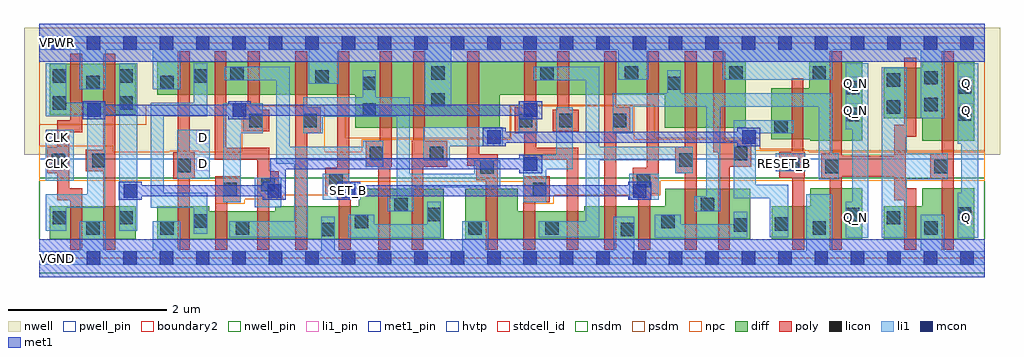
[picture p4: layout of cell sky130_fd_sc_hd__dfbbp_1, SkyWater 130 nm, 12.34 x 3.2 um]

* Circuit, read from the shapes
.subckt sky130_fd_sc_hd__dfbbp_1 CLK D Q Q_N RESET_B SET_B VGND VNB VPB VPWR
XM1 VGND CLK n1 VNB sky130_fd_pr__nfet_01v8 w=0.42 l=0.15
XM2 n2 n1 VGND VNB sky130_fd_pr__nfet_01v8 w=0.42 l=0.15
XM3 n3 D VGND VNB sky130_fd_pr__nfet_01v8 w=0.42 l=0.15
XM4 n4 n1 n3 VNB sky130_fd_pr__nfet_01v8 w=0.36 l=0.15
XM5 n5 n2 n4 VNB sky130_fd_pr__nfet_01v8 w=0.36 l=0.15
XM6 VGND n6 n5 VNB sky130_fd_pr__nfet_01v8 w=0.42 l=0.15
XM7 n7 SET_B VGND VNB sky130_fd_pr__nfet_01v8 w=0.42 l=0.15
XM8 n6 n4 n7 VNB sky130_fd_pr__nfet_01v8 w=0.64 l=0.15
XM9 n7 n8 n6 VNB sky130_fd_pr__nfet_01v8 w=0.64 l=0.15
XM10 n9 n6 VGND VNB sky130_fd_pr__nfet_01v8 w=0.64 l=0.15
XM11 n10 n2 n9 VNB sky130_fd_pr__nfet_01v8 w=0.36 l=0.15
XM12 n11 n1 n10 VNB sky130_fd_pr__nfet_01v8 w=0.36 l=0.15
XM13 VGND n12 n11 VNB sky130_fd_pr__nfet_01v8 w=0.42 l=0.15
XM14 n13 SET_B VGND VNB sky130_fd_pr__nfet_01v8 w=0.42 l=0.15
XM15 n12 n10 n13 VNB sky130_fd_pr__nfet_01v8 w=0.64 l=0.15
XM16 n13 n8 n12 VNB sky130_fd_pr__nfet_01v8 w=0.64 l=0.15
XM17 VGND RESET_B n8 VNB sky130_fd_pr__nfet_01v8 w=0.42 l=0.15
XM18 Q_N n12 VGND VNB sky130_fd_pr__nfet_01v8 w=0.65 l=0.15
XM19 VGND n12 n14 VNB sky130_fd_pr__nfet_01v8 w=0.42 l=0.15
XM20 Q n14 VGND VNB sky130_fd_pr__nfet_01v8 w=0.65 l=0.15
XM21 VPWR CLK n1 VPB sky130_fd_pr__pfet_01v8_hvt w=0.64 l=0.15
XM22 n2 n1 VPWR VPB sky130_fd_pr__pfet_01v8_hvt w=0.64 l=0.15
XM23 n3 D VPWR VPB sky130_fd_pr__pfet_01v8_hvt w=0.42 l=0.15
XM24 n4 n2 n3 VPB sky130_fd_pr__pfet_01v8_hvt w=0.42 l=0.15
XM25 n15 n1 n4 VPB sky130_fd_pr__pfet_01v8_hvt w=0.42 l=0.15
XM26 VPWR n6 n15 VPB sky130_fd_pr__pfet_01v8_hvt w=0.42 l=0.15
XM27 n6 SET_B VPWR VPB sky130_fd_pr__pfet_01v8_hvt w=0.42 l=0.15
XM28 n16 n4 n6 VPB sky130_fd_pr__pfet_01v8_hvt w=0.84 l=0.15
XM29 VPWR n8 n16 VPB sky130_fd_pr__pfet_01v8_hvt w=0.84 l=0.15
XM30 n17 n6 VPWR VPB sky130_fd_pr__pfet_01v8_hvt w=0.84 l=0.15
XM31 n10 n1 n17 VPB sky130_fd_pr__pfet_01v8_hvt w=0.42 l=0.15
XM32 n18 n2 n10 VPB sky130_fd_pr__pfet_01v8_hvt w=0.42 l=0.15
XM33 VPWR n12 n18 VPB sky130_fd_pr__pfet_01v8_hvt w=0.42 l=0.15
XM34 n12 SET_B VPWR VPB sky130_fd_pr__pfet_01v8_hvt w=0.42 l=0.15
XM35 n19 n10 n12 VPB sky130_fd_pr__pfet_01v8_hvt w=0.84 l=0.15
XM36 VPWR n8 n19 VPB sky130_fd_pr__pfet_01v8_hvt w=0.84 l=0.15
XM37 VPWR RESET_B n8 VPB sky130_fd_pr__pfet_01v8_hvt w=0.64 l=0.15
XM38 Q_N n12 VPWR VPB sky130_fd_pr__pfet_01v8_hvt w=1 l=0.15
XM39 VPWR n12 n14 VPB sky130_fd_pr__pfet_01v8_hvt w=0.64 l=0.15
XM40 Q n14 VPWR VPB sky130_fd_pr__pfet_01v8_hvt w=1 l=0.15
.ends

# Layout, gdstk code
import gdstk
lib = gdstk.Library(unit=1e-6, precision=1e-09)
def R(c, l, rs):  # rectangles x0, y0, x1, y1
    for r in rs: c.add(gdstk.rectangle(r[:2], r[2:], *l))
def A(c, l, x, y, w, h, nx, ny, dx, dy):  # array of equal rectangles
    R(c, l, [(x+i*dx, y+j*dy, x+i*dx+w, y+j*dy+h) for i in range(nx) for j in range(ny)])
def P(c, l, *ps):  # polygons
    for p in ps: c.add(gdstk.Polygon(p, *l))
nwell_pin = (64, 16)
nwell = (64, 20)
diff = (65, 20)
poly = (66, 20)
licon = (66, 44)
li1_pin = (67, 16)
li1 = (67, 20)
mcon = (67, 44)
met1_pin = (68, 16)
met1 = (68, 20)
hvtp = (78, 44)
stdcell_id = (81, 4)
nsdm = (93, 44)
psdm = (94, 20)
npc = (95, 20)
pwell_pin = (122, 16)
boundary2 = (236, 0)

sky130_fd_sc_hd__dfbbp_1 = lib.new_cell('sky130_fd_sc_hd__dfbbp_1')
R(sky130_fd_sc_hd__dfbbp_1, nwell_pin, [(0.15,2.635,0.32,2.805), (0.15,2.635,0.32,2.805)])
R(sky130_fd_sc_hd__dfbbp_1, nwell, [(-0.19,1.305,12.15,2.91)])
R(sky130_fd_sc_hd__dfbbp_1, diff, [(0.135,0.235,1.225,0.655), (0.135,1.815,1.225,2.455)])
P(sky130_fd_sc_hd__dfbbp_1, diff, [(5.12,0.875),(4.04,0.875),(4.04,0.655),(2.985,0.655),(2.985,0.595),(2.155,0.595),(2.155,0.655),(1.495,0.655),(1.495,0.235),(5.12,0.235)],
  [(11.825,0.885),(11.165,0.885),(11.165,0.655),(10.68,0.655),(10.68,0.235),(11.825,0.235)],
  [(8.935,2.485),(1.495,2.485),(1.495,2.065),(4,2.065),(4,1.645),(5.825,1.645),(5.825,2.065),(7.91,2.065),(7.91,1.645),(8.935,1.645)],
  [(8.995,0.875),(7.915,0.875),(7.915,0.655),(6.895,0.655),(6.895,0.595),(6.05,0.595),(6.05,0.875),(5.39,0.875),(5.39,0.235),(8.995,0.235)],
  [(10.41,2.485),(9.74,2.485),(9.74,2.145),(9.255,2.145),(9.255,1.505),(9.75,1.505),(9.75,1.485),(10.41,1.485)],
  [(10.41,0.885),(9.75,0.885),(9.75,0.655),(9.265,0.655),(9.265,0.235),(10.41,0.235)],
  [(11.825,2.485),(11.165,2.485),(11.165,2.405),(10.68,2.405),(10.68,1.765),(11.165,1.765),(11.165,1.485),(11.825,1.485)])
R(sky130_fd_sc_hd__dfbbp_1, poly, [(1.755,0.105,1.905,1.005), (2.23,0.105,2.38,0.715), (3.79,0.105,3.94,0.84), (4.29,0.105,4.44,1.175), (4.71,0.105,4.86,1.485), (2.23,0.705,2.55,1.035), (1.7,1.005,1.97,1.335), (1.755,1.31,1.905,2.615)])
P(sky130_fd_sc_hd__dfbbp_1, poly, [(0.545,0.88),(0.38,0.88),(0.38,1.59),(0.545,1.59),(0.545,2.585),(0.395,2.585),(0.395,1.74),(0.23,1.74),(0.23,1.4),(0.105,1.4),(0.105,1.07),(0.23,1.07),(0.23,0.73),(0.395,0.73),(0.395,0.105),(0.545,0.105)],
  [(0.965,2.585),(0.815,2.585),(0.815,1.37),(0.59,1.37),(0.59,1.1),(0.815,1.1),(0.815,0.105),(0.965,0.105)],
  [(11.565,2.615),(11.415,2.615),(11.415,1.325),(11.27,1.325),(11.27,0.995),(11.415,0.995),(11.415,0.105),(11.565,0.105)],
  [(2.91,1.875),(2.79,1.875),(2.79,2.615),(2.64,2.615),(2.64,1.875),(2.58,1.875),(2.58,1.605),(2.91,1.605)],
  [(3.03,1.095),(2.91,1.095),(2.91,1.395),(2.37,1.395),(2.37,2.615),(2.22,2.615),(2.22,1.245),(2.76,1.245),(2.76,0.105),(2.91,0.105),(2.91,0.765),(3.03,0.765)],
  [(3.56,1.905),(3.39,1.905),(3.39,2.615),(3.24,2.615),(3.24,0.105),(3.39,0.105),(3.39,1.575),(3.56,1.575)],
  [(5.16,1.485),(4.88,1.485),(4.88,2.615),(4.73,2.615),(4.73,1.155),(5.16,1.155)],
  [(5.8,1.315),(5.565,1.315),(5.565,2.615),(5.415,2.615),(5.415,1.165),(5.53,1.165),(5.53,0.985),(5.65,0.985),(5.65,0.105),(5.8,0.105)],
  [(6.46,1.035),(6.125,1.035),(6.125,0.105),(6.275,0.105),(6.275,0.705),(6.46,0.705)],
  [(6.82,1.395),(6.285,1.395),(6.285,2.615),(6.135,2.615),(6.135,1.905),(6.015,1.905),(6.015,1.575),(6.135,1.575),(6.135,1.245),(6.67,1.245),(6.67,0.105),(6.82,0.105)],
  [(6.825,1.875),(6.705,1.875),(6.705,2.615),(6.555,2.615),(6.555,1.875),(6.495,1.875),(6.495,1.605),(6.825,1.605)],
  [(7.475,1.905),(7.295,1.905),(7.295,2.615),(7.145,2.615),(7.145,0.105),(7.295,0.105),(7.295,1.575),(7.475,1.575)],
  [(7.835,2.615),(7.685,2.615),(7.685,1.145),(7.505,1.145),(7.505,0.815),(7.575,0.815),(7.575,0.105),(7.725,0.105),(7.725,0.815),(7.835,0.815)],
  [(8.315,2.615),(8.165,2.615),(8.165,1.405),(8.045,1.405),(8.045,1.075),(8.165,1.075),(8.165,0.105),(8.315,0.105)],
  [(9.005,1.485),(8.675,1.485),(8.675,2.615),(8.525,2.615),(8.525,1.335),(8.585,1.335),(8.585,0.105),(8.735,0.105),(8.735,1.155),(9.005,1.155)],
  [(9.68,1.345),(9.665,1.345),(9.665,2.275),(9.515,2.275),(9.515,1.345),(9.36,1.345),(9.36,1.015),(9.525,1.015),(9.525,0.105),(9.675,0.105),(9.675,1.015),(9.68,1.015)],
  [(11.09,0.88),(10.96,0.88),(10.96,1.535),(11.09,1.535),(11.09,2.535),(10.94,2.535),(10.94,1.685),(10.81,1.685),(10.81,1.295),(10.15,1.295),(10.15,2.615),(10,2.615),(10,1.325),(9.89,1.325),(9.89,0.995),(10,0.995),(10,0.105),(10.15,0.105),(10.15,1.025),(10.81,1.025),(10.81,0.73),(10.94,0.73),(10.94,0.105),(11.09,0.105)],
  [(3.94,0.965),(3.92,0.965),(3.92,2.615),(3.77,2.615),(3.77,1.145),(3.62,1.145),(3.62,0.815),(3.94,0.815)],
  [(4.46,2.615),(4.31,2.615),(4.31,1.485),(4.13,1.485),(4.13,1.155),(4.46,1.155)])
R(sky130_fd_sc_hd__dfbbp_1, licon, [(3.57,0.275,3.74,0.445), (7.355,0.275,7.525,0.445), (0.595,0.295,0.765,0.465), (1.535,0.295,1.705,0.465), (2.485,0.295,2.655,0.465), (5.43,0.295,5.6,0.465), (6.4,0.295,6.57,0.465), (9.78,0.295,9.95,0.465), (11.195,0.295,11.365,0.465), (8.785,0.335,8.955,0.505), (9.305,0.345,9.475,0.515), (3.99,0.375,4.16,0.545), (7.865,0.375,8.035,0.545), (1.955,0.385,2.125,0.555), (0.175,0.425,0.345,0.595), (1.015,0.425,1.185,0.595), (10.72,0.425,10.89,0.595), (4.91,0.465,5.08,0.635), (10.2,0.465,10.37,0.635), (11.615,0.475,11.785,0.645), (4.49,0.595,4.66,0.765), (8.365,0.595,8.535,0.765), (2.33,0.785,2.5,0.955), (6.24,0.785,6.41,0.955), (2.81,0.845,2.98,1.015), (3.67,0.895,3.84,1.065), (7.555,0.895,7.725,1.065), (5.58,1.065,5.75,1.235), (9.94,1.075,10.11,1.245), (11.32,1.075,11.49,1.245), (1.75,1.085,1.92,1.255), (9.44,1.095,9.61,1.265), (0.16,1.15,0.33,1.32), (0.67,1.15,0.84,1.32), (8.095,1.155,8.265,1.325), (4.18,1.235,4.35,1.405), (4.94,1.235,5.11,1.405), (8.785,1.235,8.955,1.405), (9.295,1.575,9.465,1.745), (2.66,1.655,2.83,1.825), (3.34,1.655,3.51,1.825), (6.065,1.655,6.235,1.825), (6.575,1.655,6.745,1.825), (7.255,1.655,7.425,1.825), (10.2,1.73,10.37,1.9), (11.615,1.735,11.785,1.905), (4.09,1.785,4.26,1.955), (10.72,1.825,10.89,1.995), (11.195,1.855,11.365,2.025), (0.175,1.875,0.345,2.045), (1.015,1.875,1.185,2.045), (4.96,1.915,5.13,2.085), (10.2,2.07,10.37,2.24), (11.615,2.075,11.785,2.245), (4.09,2.125,4.26,2.295), (7.945,2.125,8.115,2.295), (0.595,2.135,0.765,2.305), (1.535,2.135,1.705,2.305), (10.72,2.165,10.89,2.335), (11.195,2.195,11.365,2.365), (3.49,2.205,3.66,2.375), (0.175,2.215,0.345,2.385), (1.015,2.215,1.185,2.385), (1.955,2.215,2.125,2.385), (2.42,2.25,2.59,2.42), (6.335,2.25,6.505,2.42), (4.96,2.255,5.13,2.425), (7.405,2.255,7.575,2.425), (8.725,2.255,8.895,2.425), (9.78,2.255,9.95,2.425)])
R(sky130_fd_sc_hd__dfbbp_1, li1_pin, [(0.15,-0.085,0.32,0.085), (10.24,0.425,10.41,0.595), (11.64,0.425,11.81,0.595), (3.83,0.765,4,0.935), (0.15,1.105,0.32,1.275), (1.99,1.105,2.16,1.275), (9.47,1.105,9.64,1.275), (0.15,1.445,0.32,1.615), (1.99,1.445,2.16,1.615), (10.24,1.785,10.41,1.955), (11.64,1.785,11.81,1.955), (10.24,2.125,10.41,2.295), (11.64,2.125,11.81,2.295), (0.15,2.635,0.32,2.805)])
R(sky130_fd_sc_hd__dfbbp_1, li1, [(1.015,0.345,1.24,2.465), (2.73,0.645,3.06,1.015), (7.46,0.735,7.835,1.065), (0.085,0.975,0.44,1.625), (1.75,1.005,2.16,1.625), (9.315,1.095,9.69,1.325), (6.065,1.575,6.3,1.985)])
P(sky130_fd_sc_hd__dfbbp_1, li1, [(0.84,1.965),(0.345,1.965),(0.345,2.465),(0.085,2.465),(0.085,1.795),(0.61,1.795),(0.61,0.805),(0.085,0.805),(0.085,0.345),(0.345,0.345),(0.345,0.635),(0.84,0.635)],
  [(2.125,0.825),(1.58,0.825),(1.58,1.795),(2.125,1.795),(2.125,2.465),(1.955,2.465),(1.955,1.965),(1.41,1.965),(1.41,0.635),(1.955,0.635),(1.955,0.305),(2.125,0.305)],
  [(2.83,1.955),(2.33,1.955),(2.33,0.705),(2.55,0.705),(2.55,1.575),(2.83,1.575)],
  [(11.96,0.085),(11.445,0.085),(11.445,0.545),(11.15,0.545),(11.15,0.085),(10.03,0.085),(10.03,0.805),(9.7,0.805),(9.7,0.085),(7.525,0.085),(7.525,0.525),(7.265,0.525),(7.265,0.085),(5.68,0.085),(5.68,0.465),(5.35,0.465),(5.35,0.085),(3.74,0.085),(3.74,0.525),(3.57,0.525),(3.57,0.085),(1.785,0.085),(1.785,0.465),(1.435,0.465),(1.435,0.085),(0.845,0.085),(0.845,0.465),(0.515,0.465),(0.515,0.085),(0,0.085),(0,-0.085),(11.96,-0.085)],
  [(4,0.965),(3.92,0.965),(3.92,1.065),(3.59,1.065),(3.59,0.735),(4,0.735)],
  [(4.35,1.485),(4.1,1.485),(4.1,1.405),(3.17,1.405),(3.17,2.42),(2.34,2.42),(2.34,2.25),(3,2.25),(3,1.195),(3.23,1.195),(3.23,0.465),(2.405,0.465),(2.405,0.265),(3.4,0.265),(3.4,1.235),(4.13,1.235),(4.13,1.155),(4.35,1.155)],
  [(5.08,0.715),(4.91,0.715),(4.91,0.425),(4.24,0.425),(4.24,0.545),(3.91,0.545),(3.91,0.255),(5.08,0.255)],
  [(5.83,1.235),(5.5,1.235),(5.5,1.065),(4.69,1.065),(4.69,2.035),(4.26,2.035),(4.26,2.375),(4.09,2.375),(4.09,2.035),(3.34,2.035),(3.34,1.575),(3.59,1.575),(3.59,1.785),(4.52,1.785),(4.52,0.765),(4.41,0.765),(4.41,0.595),(4.74,0.595),(4.74,0.895),(5.83,0.895)],
  [(5.865,1.655),(4.86,1.655),(4.86,1.235),(5.19,1.235),(5.19,1.415),(5.865,1.415)],
  [(6.745,1.905),(6.54,1.905),(6.54,1.305),(6.125,1.305),(6.125,0.705),(6.41,0.705),(6.41,1.125),(6.745,1.125)],
  [(8.265,1.405),(7.085,1.405),(7.085,2.42),(6.255,2.42),(6.255,2.25),(6.915,2.25),(6.915,0.465),(6.32,0.465),(6.32,0.265),(7.085,0.265),(7.085,1.235),(8.045,1.235),(8.045,1.075),(8.265,1.075)],
  [(8.955,0.585),(8.785,0.585),(8.785,0.425),(8.115,0.425),(8.115,0.545),(7.785,0.545),(7.785,0.255),(8.955,0.255)],
  [(9.545,1.745),(8.785,1.745),(8.785,0.755),(9.24,0.755),(9.24,0.265),(9.475,0.265),(9.475,0.925),(9.06,0.925),(9.06,1.575),(9.545,1.575)],
  [(10.11,1.325),(10.03,1.325),(10.03,2.085),(8.115,2.085),(8.115,2.375),(7.945,2.375),(7.945,2.085),(7.255,2.085),(7.255,1.575),(7.505,1.575),(7.505,1.915),(8.435,1.915),(8.435,0.78),(8.285,0.78),(8.285,0.595),(8.615,0.595),(8.615,1.915),(9.86,1.915),(9.86,0.995),(10.11,0.995)],
  [(10.485,2.465),(10.2,2.465),(10.2,1.63),(10.28,1.63),(10.28,0.715),(10.2,0.715),(10.2,0.255),(10.485,0.255)],
  [(11.49,1.325),(10.97,1.325),(10.97,2.415),(10.655,2.415),(10.655,0.255),(10.97,0.255),(10.97,0.995),(11.49,0.995)],
  [(11.875,2.465),(11.615,2.465),(11.615,1.445),(11.66,1.445),(11.66,0.825),(11.615,0.825),(11.615,0.255),(11.875,0.255)],
  [(11.96,2.805),(0,2.805),(0,2.635),(0.515,2.635),(0.515,2.135),(0.845,2.135),(0.845,2.635),(1.435,2.635),(1.435,2.135),(1.785,2.135),(1.785,2.635),(3.41,2.635),(3.41,2.205),(3.79,2.205),(3.79,2.635),(4.88,2.635),(4.88,1.915),(5.21,1.915),(5.21,2.635),(7.325,2.635),(7.325,2.255),(7.705,2.255),(7.705,2.635),(8.645,2.635),(8.645,2.255),(10.03,2.255),(10.03,2.635),(11.15,2.635),(11.15,1.765),(11.445,1.765),(11.445,2.635),(11.96,2.635)])
A(sky130_fd_sc_hd__dfbbp_1, mcon, 0.145, -0.085, 0.17, 0.17, 26, 2, 0.46, 2.72)
R(sky130_fd_sc_hd__dfbbp_1, mcon, [(1.07,0.765,1.24,0.935), (2.89,0.765,3.06,0.935), (3.83,0.765,4,0.935), (7.51,0.765,7.68,0.935), (6.13,1.105,6.3,1.275), (5.67,1.445,5.84,1.615), (8.89,1.445,9.06,1.615), (0.61,1.785,0.78,1.955), (2.45,1.785,2.62,1.955), (6.13,1.785,6.3,1.955)])
R(sky130_fd_sc_hd__dfbbp_1, met1_pin, [(0.15,-0.085,0.32,0.085), (0.15,2.635,0.32,2.805)])
R(sky130_fd_sc_hd__dfbbp_1, met1, [(0,-0.24,11.96,0.24), (0,2.48,11.96,2.96)])
P(sky130_fd_sc_hd__dfbbp_1, met1, [(6.36,1.985),(6.07,1.985),(6.07,1.94),(2.68,1.94),(2.68,1.985),(2.39,1.985),(2.39,1.94),(0.84,1.94),(0.84,1.985),(0.55,1.985),(0.55,1.755),(0.84,1.755),(0.84,1.8),(2.39,1.8),(2.39,1.755),(2.68,1.755),(2.68,1.8),(6.07,1.8),(6.07,1.755),(6.36,1.755)],
  [(6.36,1.305),(6.07,1.305),(6.07,1.26),(2.925,1.26),(2.925,0.965),(2.83,0.965),(2.83,0.92),(1.3,0.92),(1.3,0.965),(1.01,0.965),(1.01,0.735),(1.3,0.735),(1.3,0.78),(2.83,0.78),(2.83,0.735),(3.12,0.735),(3.12,1.12),(6.07,1.12),(6.07,1.075),(6.36,1.075)],
  [(7.74,0.965),(7.45,0.965),(7.45,0.92),(4.06,0.92),(4.06,0.965),(3.77,0.965),(3.77,0.735),(4.06,0.735),(4.06,0.78),(7.45,0.78),(7.45,0.735),(7.74,0.735)],
  [(9.12,1.645),(8.83,1.645),(8.83,1.6),(5.9,1.6),(5.9,1.645),(5.61,1.645),(5.61,1.415),(5.9,1.415),(5.9,1.46),(8.83,1.46),(8.83,1.415),(9.12,1.415)])
R(sky130_fd_sc_hd__dfbbp_1, hvtp, [(0,1.25,11.96,2.72)])
R(sky130_fd_sc_hd__dfbbp_1, stdcell_id, [(0,0,11.96,2.72)])
R(sky130_fd_sc_hd__dfbbp_1, nsdm, [(0,-0.19,11.96,1.015)])
P(sky130_fd_sc_hd__dfbbp_1, psdm, [(11.96,2.91),(0,2.91),(0,1.685),(1.355,1.685),(1.355,1.935),(3.87,1.935),(3.87,1.515),(5.955,1.515),(5.955,1.935),(7.78,1.935),(7.78,1.515),(9.115,1.515),(9.115,1.375),(9.68,1.375),(9.68,1.355),(11.96,1.355)])
P(sky130_fd_sc_hd__dfbbp_1, npc, [(11.96,1.345),(9.73,1.345),(9.73,1.365),(9.055,1.365),(9.055,1.505),(7.525,1.505),(7.525,1.925),(5.965,1.925),(5.965,1.505),(4.08,1.505),(4.08,1.345),(3.61,1.345),(3.61,1.925),(2.56,1.925),(2.56,1.345),(2.02,1.345),(2.02,1.355),(1.65,1.355),(1.65,1.345),(0.94,1.345),(0.94,1.42),(0,1.42),(0,0.975),(2.23,0.975),(2.23,0.685),(2.6,0.685),(2.6,0.745),(3.08,0.745),(3.08,0.795),(3.94,0.795),(3.94,0.965),(6.14,0.965),(6.14,0.685),(6.51,0.685),(6.51,0.795),(7.855,0.795),(7.855,0.975),(11.96,0.975)])
R(sky130_fd_sc_hd__dfbbp_1, pwell_pin, [(0.15,-0.085,0.32,0.085), (0.15,-0.085,0.32,0.085)])
R(sky130_fd_sc_hd__dfbbp_1, boundary2, [(0,0,11.96,2.72)])
sky130_fd_sc_hd__dfbbp_1.add(gdstk.Label('RESET_B', (9.43,1.19), layer=67, texttype=5))
sky130_fd_sc_hd__dfbbp_1.add(gdstk.Label('VGND', (0.235,0), layer=67, texttype=5))
sky130_fd_sc_hd__dfbbp_1.add(gdstk.Label('CLK', (0.23,1.19), layer=67, texttype=5))
sky130_fd_sc_hd__dfbbp_1.add(gdstk.Label('CLK', (0.23,1.53), layer=67, texttype=5))
sky130_fd_sc_hd__dfbbp_1.add(gdstk.Label('SET_B', (3.915,0.85), layer=67, texttype=5))
sky130_fd_sc_hd__dfbbp_1.add(gdstk.Label('Q', (11.725,0.51), layer=67, texttype=5))
sky130_fd_sc_hd__dfbbp_1.add(gdstk.Label('Q', (11.725,1.87), layer=67, texttype=5))
sky130_fd_sc_hd__dfbbp_1.add(gdstk.Label('Q', (11.725,2.21), layer=67, texttype=5))
sky130_fd_sc_hd__dfbbp_1.add(gdstk.Label('VPWR', (0.235,2.72), layer=67, texttype=5))
sky130_fd_sc_hd__dfbbp_1.add(gdstk.Label('D', (2.075,1.19), layer=67, texttype=5))
sky130_fd_sc_hd__dfbbp_1.add(gdstk.Label('D', (2.075,1.53), layer=67, texttype=5))
sky130_fd_sc_hd__dfbbp_1.add(gdstk.Label('Q_N', (10.325,2.21), layer=67, texttype=5))
sky130_fd_sc_hd__dfbbp_1.add(gdstk.Label('Q_N', (10.325,1.87), layer=67, texttype=5))
sky130_fd_sc_hd__dfbbp_1.add(gdstk.Label('Q_N', (10.325,0.51), layer=67, texttype=5))
sky130_fd_sc_hd__dfbbp_1.add(gdstk.Label('VGND', (0.235,0), layer=68, texttype=5))
sky130_fd_sc_hd__dfbbp_1.add(gdstk.Label('VPWR', (0.235,2.72), layer=68, texttype=5))
sky130_fd_sc_hd__dfbbp_1.add(gdstk.Label('VPB', (0.235,2.72), layer=64, texttype=5))
sky130_fd_sc_hd__dfbbp_1.add(gdstk.Label('VPB', (0.235,2.72), layer=64, texttype=5))
sky130_fd_sc_hd__dfbbp_1.add(gdstk.Label('VNB', (0.235,0), layer=64, texttype=59))
sky130_fd_sc_hd__dfbbp_1.add(gdstk.Label('VNB', (0.235,0), layer=64, texttype=59))
sky130_fd_sc_hd__dfbbp_1.add(gdstk.Label('dfbbp_1', (0,0), layer=83, texttype=44))

lib.write_gds('sky130_fd_sc_hd__dfbbp_1.gds')
